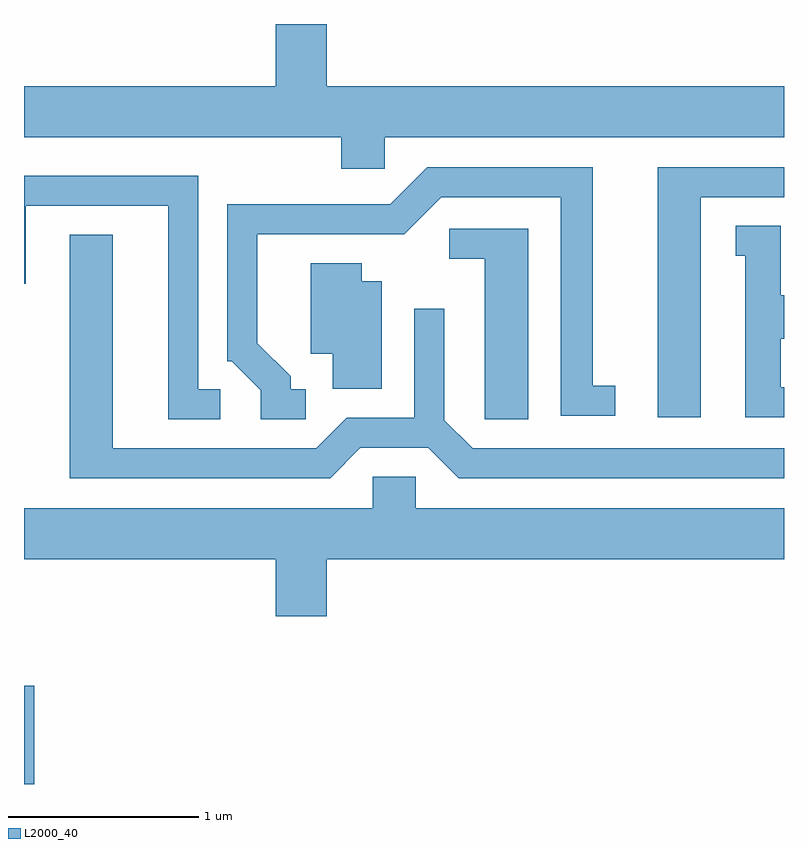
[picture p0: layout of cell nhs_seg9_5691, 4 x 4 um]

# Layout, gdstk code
import gdstk
lib = gdstk.Library(unit=1e-6, precision=1e-09)
def R(c, l, rs):  # rectangles x0, y0, x1, y1
    for r in rs: c.add(gdstk.rectangle(r[:2], r[2:], *l))
def P(c, l, *ps):  # polygons
    for p in ps: c.add(gdstk.Polygon(p, *l))
L2000_40 = (2000, 40)

nhs_seg9_5691 = lib.new_cell('nhs_seg9_5691')
R(nhs_seg9_5691, L2000_40, [(353.611,1968.432,353.664,1968.949)])
P(nhs_seg9_5691, L2000_40, [(355.509,1971.836),(357.611,1971.836),(357.611,1972.104),(355.204,1972.104),(355.204,1972.432),(354.936,1972.432),(354.936,1972.104),(353.611,1972.104),(353.611,1971.836),(355.281,1971.836),(355.281,1971.671),(355.509,1971.671)],
  [(355.093,1970.509),(355.014,1970.509),(355.014,1970.577),(354.839,1970.752),(354.839,1971.326),(355.612,1971.326),(355.807,1971.521),(356.436,1971.521),(356.436,1970.371),(356.723,1970.371),(356.723,1970.529),(356.604,1970.529),(356.604,1971.679),(355.734,1971.679),(355.539,1971.484),(354.681,1971.484),(354.681,1970.656),(354.704,1970.656),(354.856,1970.504),(354.856,1970.351),(355.093,1970.351)],
  [(357.174,1971.521),(357.611,1971.521),(357.611,1971.679),(356.946,1971.679),(356.946,1970.361),(357.174,1970.361)],
  [(354.643,1970.509),(354.529,1970.509),(354.529,1971.634),(353.611,1971.634),(353.611,1971.066),(353.619,1971.066),(353.619,1971.476),(354.371,1971.476),(354.371,1970.351),(354.643,1970.351)],
  [(357.611,1970.519),(357.594,1970.519),(357.594,1970.776),(357.611,1970.776),(357.611,1971.004),(357.594,1971.004),(357.594,1971.369),(357.358,1971.369),(357.358,1971.211),(357.406,1971.211),(357.406,1970.361),(357.611,1970.361)],
  [(356.264,1971.354),(355.848,1971.354),(355.848,1971.196),(356.036,1971.196),(356.036,1970.351),(356.264,1970.351)],
  [(355.382,1970.201),(355.739,1970.201),(355.899,1970.041),(357.611,1970.041),(357.611,1970.199),(355.972,1970.199),(355.824,1970.347),(355.824,1970.933),(355.666,1970.933),(355.666,1970.359),(355.309,1970.359),(355.149,1970.199),(354.079,1970.199),(354.079,1971.324),(353.851,1971.324),(353.851,1970.041),(355.222,1970.041)],
  [(355.494,1971.079),(355.389,1971.079),(355.389,1971.174),(355.121,1971.174),(355.121,1970.696),(355.236,1970.696),(355.236,1970.511),(355.494,1970.511)],
  [(355.204,1969.616),(357.611,1969.616),(357.611,1969.884),(355.674,1969.884),(355.674,1970.049),(355.446,1970.049),(355.446,1969.884),(353.611,1969.884),(353.611,1969.616),(354.936,1969.616),(354.936,1969.316),(355.204,1969.316)])

lib.write_gds('nhs_seg9_5691.gds')
